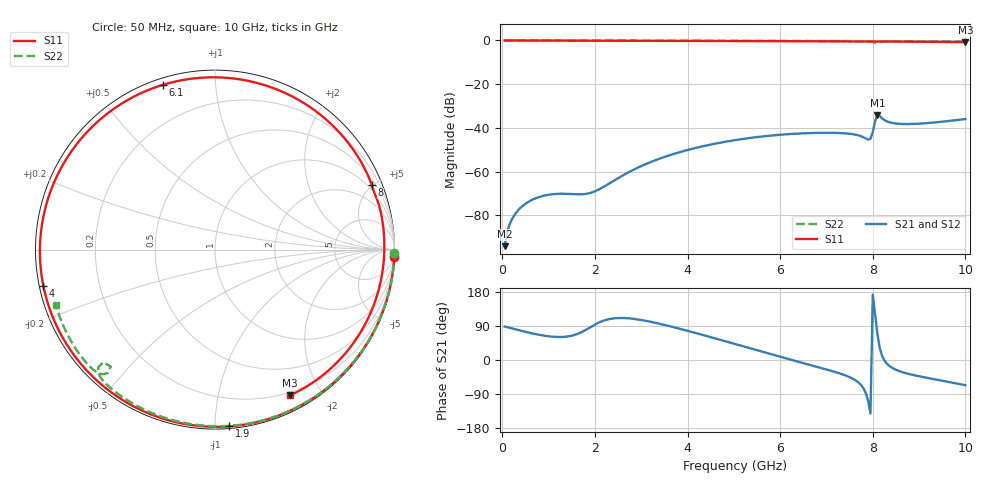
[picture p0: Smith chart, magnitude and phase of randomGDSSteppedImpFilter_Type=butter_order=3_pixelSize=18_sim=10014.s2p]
! freq	dB(S11)	phase(S11)	dB(S12)	phase(S12)
!  dB(S21)	phase(S21)	dB(S22)	phase(S22)
!S-par simulation data
#  GHz  S  DB  R 50
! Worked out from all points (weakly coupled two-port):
!   200 points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, 50 MHz to 10 GHz, reference 50 ohm
!   highest |S21| = -34.17 dB at 8.1 GHz (marker M1); lowest = -94.1 dB at 50 MHz (marker M2)
!   lowest |S11| = -0.8 dB at 10 GHz (marker M3), VSWR 22.03, Z = 8.32 - j81.3 ohm
!   |S11| at or under -10 dB: nowhere
!   |S22| runs from -1.2 to 0.0 dB; largest |S21 - S12| = 0
!   S11 on the Smith chart (normalised r, x): 50 MHz: 0, -48; 1.9 GHz: 0.01, -1.08; 4 GHz: 0.01, -0.10; 6.1 GHz: 0.03, +0.73; 8 GHz: 0.74, +4.96; 10 GHz: 0.17, -1.63
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0.05  -0.00 -2.4  -94.05 88.4  -94.05 88.4  -0.00 -0.9
0.25  -0.02 -11.7  -80.22 82.0  -80.22 82.0  -0.01 -4.7
0.5  -0.03 -23.3  -74.66 74.4  -74.66 74.4  -0.01 -9.3
0.85  -0.05 -39.4  -71.23 65.4  -71.23 65.4  -0.02 -15.7
1.75  -0.10 -79.0  -70.28 75.9  -70.28 75.9  -0.04 -32.0
1.9  -0.10 -85.4  -69.72 86.3  -69.72 86.3  -0.04 -34.7
2.6  -0.13 -113.9  -61.71 110.9  -61.71 110.9  -0.06 -47.1
3.4  -0.17 -145.1  -54.02 95.6  -54.02 95.6  -0.08 -60.8
4  -0.20 -168.1  -50.08 77.0  -50.08 77.0  -0.10 -70.7
4.55  -0.23 170.8  -47.38 58.6  -47.38 58.6  -0.12 -79.7
5.05  -0.26 151.1  -45.49 41.4  -45.49 41.4  -0.13 -87.6
6.1  -0.33 107.6  -42.95 5.3  -42.95 5.3  -0.18 -103.8
6.7  -0.37 81.3  -42.31 -14.8  -42.31 -14.8  -0.22 -112.9
7.25  -0.40 56.4  -42.30 -34.0  -42.30 -34.0  -0.26 -121.2
7.9  -0.47 26.8  -45.33 -107.9  -45.33 -107.9  -0.41 -132.2
7.95  -0.48 24.6  -44.96 -141.4  -44.96 -141.4  -0.49 -133.4
8  -0.50 22.3  -41.93 172.5  -41.93 172.5  -0.68 -134.7
8.05  -0.51 20.2  -36.97 121.9  -36.97 121.9  -1.07 -134.8
8.1  -0.50 18.2  -34.17 69.1  -34.17 69.1  -1.18 -131.7
8.35  -0.49 6.8  -37.34 -14.7  -37.34 -14.7  -0.42 -135.3
9.1  -0.59 -25.7  -37.90 -45.4  -37.90 -45.4  -0.44 -147.3
10  -0.79 -62.8  -35.94 -66.4  -35.94 -66.4  -0.55 -160.9
